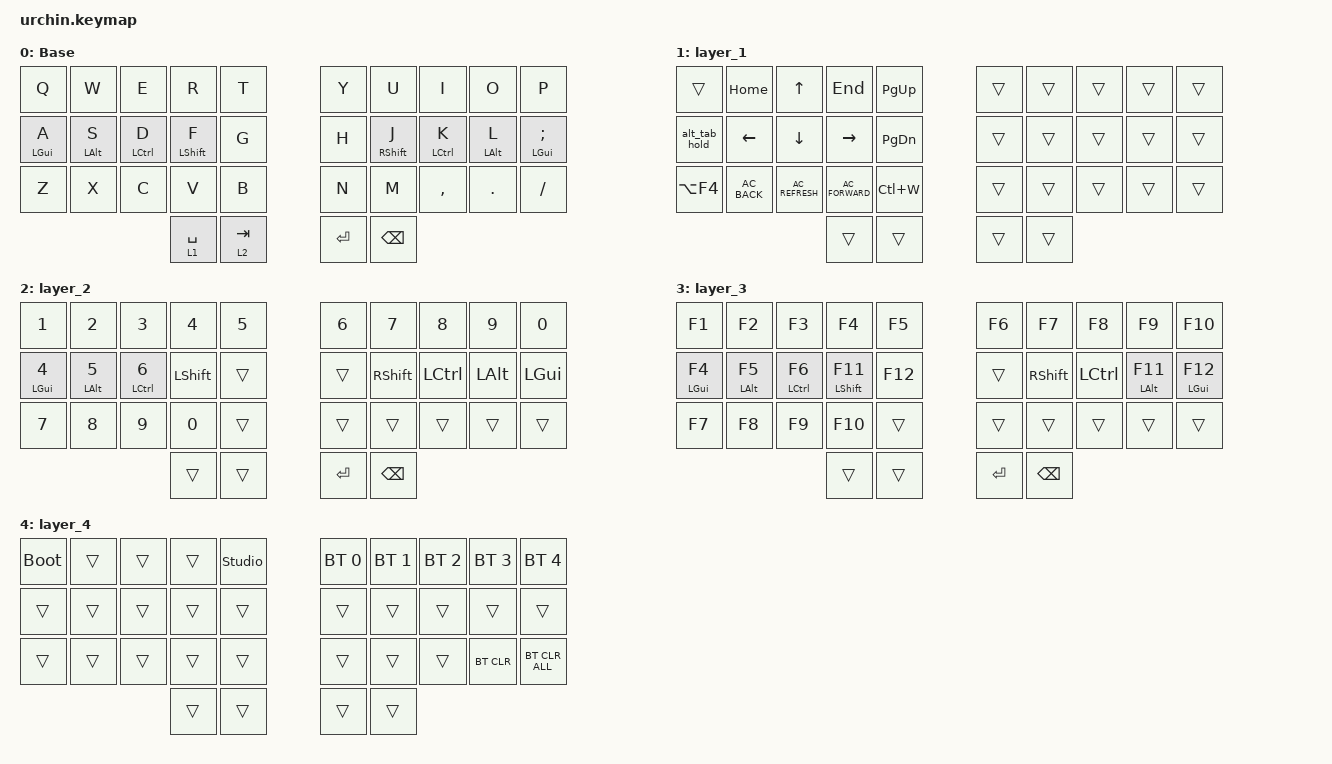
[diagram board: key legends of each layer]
/*
 * Copyright (c) 2020 duckyb
 *
 * SPDX-License-Identifier: MIT
 */

#include <behaviors.dtsi>
#include <dt-bindings/zmk/bt.h>
#include <dt-bindings/zmk/keys.h>

&lt {
    tapping-term-ms = <100>;
};

/ {
    macros {
        alt_tab_hold: alt_tab_hold {
            compatible = "zmk,behavior-macro";
            #binding-cells = <0>;
            wait-ms = <0>;
            tap-ms = <0>;
            bindings
                = <&macro_press &kp LALT>
                , <&macro_tap &kp TAB>
                , <&macro_pause_for_release>
                , <&macro_release &kp LALT>;
        };
    };

    behaviors {
        hml: home_row_mod_left {
            compatible = "zmk,behavior-hold-tap";
            #binding-cells = <2>;
            flavor = "balanced";
            require-prior-idle-ms = <150>;
            tapping-term-ms = <120>;
            quick-tap-ms = <210>;
            bindings = <&kp>, <&kp>;
            hold-trigger-key-positions = <5 6 7 8 9 15 16 17 18 19 25 26 27 28 29 32 33>;
            hold-trigger-on-release;
        };

        hmr: home_row_mod_right {
            compatible = "zmk,behavior-hold-tap";
            #binding-cells = <2>;
            flavor = "balanced";
            require-prior-idle-ms = <150>;
            tapping-term-ms = <120>;
            quick-tap-ms = <210>;
            bindings = <&kp>, <&kp>;
            hold-trigger-key-positions = <0 1 2 3 4 10 11 12 13 14 20 21 22 23 24 30 31>;
            hold-trigger-on-release;
        };
    };

    combos {
        compatible = "zmk,combos";

        qw {
            bindings = <&kp EXCL>;
            key-positions = <0 1>;
        };

        we {
            bindings = <&kp AT>;
            key-positions = <1 2>;
        };

        er {
            bindings = <&kp HASH>;
            key-positions = <2 3>;
        };

        as {
            bindings = <&kp DOLLAR>;
            key-positions = <10 11>;
        };

        sd {
            bindings = <&kp PERCENT>;
            key-positions = <11 12>;
        };

        df {
            bindings = <&kp CARET>;
            key-positions = <12 13>;
        };

        zx {
            bindings = <&kp AMPERSAND>;
            key-positions = <20 21>;
        };

        xc {
            bindings = <&kp ASTERISK>;
            key-positions = <21 22>;
        };

        cv {
            bindings = <&kp LEFT_PARENTHESIS>;
            key-positions = <22 23>;
        };

        vb {
            bindings = <&kp RIGHT_PARENTHESIS>;
            key-positions = <23 24>;
        };

        io {
            bindings = <&kp LBKT>;
            key-positions = <7 8>;
        };

        op {
            bindings = <&kp RBKT>;
            key-positions = <8 9>;
        };

        l {
            bindings = <&kp SQT>;
            key-positions = <18 19>;
        };

        m {
            bindings = <&kp BACKSLASH>;
            key-positions = <28 29>;
        };

        ui {
            bindings = <&kp MINUS>;
            key-positions = <5 6>;
        };

        ioo {
            bindings = <&kp EQUAL>;
            key-positions = <6 7>;
        };

        qa {
            bindings = <&kp ESCAPE>;
            key-positions = <0 10>;
        };

        yh {
            bindings = <&kp CAPSLOCK>;
            key-positions = <5 15>;
        };

        ws {
            bindings = <&kp GRAVE>;
            key-positions = <6 16>;
        };

        tg {
            bindings = <&kp DELETE>;
            key-positions = <14 4>;
        };

        gb {
            bindings = <&kp INS>;
            key-positions = <14 24>;
        };

        fv {
            bindings = <&kp PRINTSCREEN>;
            key-positions = <13 23>;
        };

        undo {
            bindings = <&kp K_UNDO>;
            key-positions = <20 10>;
        };

        redo {
            bindings = <&kp K_REDO>;
            key-positions = <21 11>;
        };

        mutes {
            bindings = <&kp K_MUTE>;
            key-positions = <27 17>;
        };

        volup {
            bindings = <&kp C_VOLUME_UP>;
            key-positions = <28 18>;
        };

        voldo {
            bindings = <&kp C_VOLUME_DOWN>;
            key-positions = <26 16>;
        };

        npg {
            bindings = <&kp LC(PAGE_DOWN)>;
            key-positions = <13 3>;
        };

        ppg {
            bindings = <&kp LC(PAGE_UP)>;
            key-positions = <11 1>;
        };

        newt {
            bindings = <&kp LC(T)>;
            key-positions = <12 2>;
        };

        ret {
            bindings = <&kp LS(LC(T))>;
            key-positions = <22 12>;
        };

        lang {
            layers = <0>;
            bindings = <&kp LANG1>;
            key-positions = <33 25>;
        };

        enter_bspc_layer_4 {
            timeout-ms = <100>;
            slow-release;
            layers = <0>;
            bindings = <&mo 4>;
            key-positions = <32 33>;
        };
    };

    conditional_layers {
        compatible = "zmk,conditional-layers";

        tri_layer {
            if-layers = <1 2>;
            then-layer = <3>;
        };
    };

    keymap {
        compatible = "zmk,keymap";

        default_layer {
            label = "Base";
            bindings = <
&kp Q  &kp W  &kp E  &kp R      &kp T    &kp Y      &kp U          &kp I      &kp O       &kp P
&hml LGUI A  &hml LALT S  &hml LCTRL D  &hml LSHIFT F  &kp G    &kp H      &hmr RSHIFT J  &hmr LCTRL K  &hmr LALT L  &hmr LGUI SEMICOLON
&kp Z  &kp X  &kp C  &kp V      &kp B    &kp N      &kp M          &kp COMMA  &kp PERIOD  &kp SLASH
                     &lt 1 SPACE  &lt 2 TAB  &kp ENTER    &kp BACKSPACE
            >;
        };

        layer_1 {
            bindings = <
&trans  &kp HOME  &kp UP    &kp END    &kp PAGE_UP    &trans  &trans  &trans  &trans  &trans
&alt_tab_hold  &kp LEFT  &kp DOWN  &kp RIGHT  &kp PAGE_DOWN  &trans  &trans  &trans  &trans  &trans
&kp LA(F4)  &kp C_AC_BACK    &kp C_AC_REFRESH    &kp C_AC_FORWARD     &kp LC(W)         &trans  &trans  &trans  &trans  &trans
                            &trans     &trans         &trans  &trans
            >;
        };

        layer_2 {
            bindings = <
&kp NUMBER_1  &kp NUMBER_2  &kp NUMBER_3  &kp NUMBER_4  &kp NUMBER_5  &kp NUMBER_6  &kp NUMBER_7  &kp NUMBER_8  &kp NUMBER_9  &kp NUMBER_0
&mt LGUI NUMBER_4  &mt LALT NUMBER_5  &mt LCTRL NUMBER_6  &kp LSHIFT    &trans        &trans        &kp RSHIFT    &kp LCTRL     &kp LALT      &kp LGUI
&kp NUMBER_7  &kp NUMBER_8  &kp NUMBER_9  &kp NUMBER_0  &trans        &trans        &trans        &trans        &trans        &trans
                                          &trans        &trans        &kp ENTER     &kp BACKSPACE
            >;
        };

        layer_3 {
            bindings = <
&kp F1  &kp F2  &kp F3  &kp F4   &kp F5   &kp F6  &kp F7  &kp F8  &kp F9   &kp F10
&mt LGUI F4  &mt LALT F5  &mt LCTRL F6  &mt LSHIFT F11  &kp F12  &trans  &kp RSHIFT  &kp LCTRL  &mt LALT F11  &mt LGUI F12
&kp F7  &kp F8  &kp F9  &kp F10  &trans   &trans  &trans  &trans  &trans   &trans
                        &trans   &trans   &kp ENTER  &kp BACKSPACE
            >;
        };

        layer_4 {
            bindings = <
&bootloader  &trans  &trans  &trans  &studio_unlock  &bt BT_SEL 0  &bt BT_SEL 1  &bt BT_SEL 2  &bt BT_SEL 3  &bt BT_SEL 4
&trans  &trans  &trans  &trans  &trans  &trans        &trans        &trans        &trans        &trans
&trans  &trans  &trans  &trans  &trans  &trans        &trans        &trans        &bt BT_CLR    &bt BT_CLR_ALL
                        &trans   &trans   &trans        &trans
            >;
        };
    };
};
